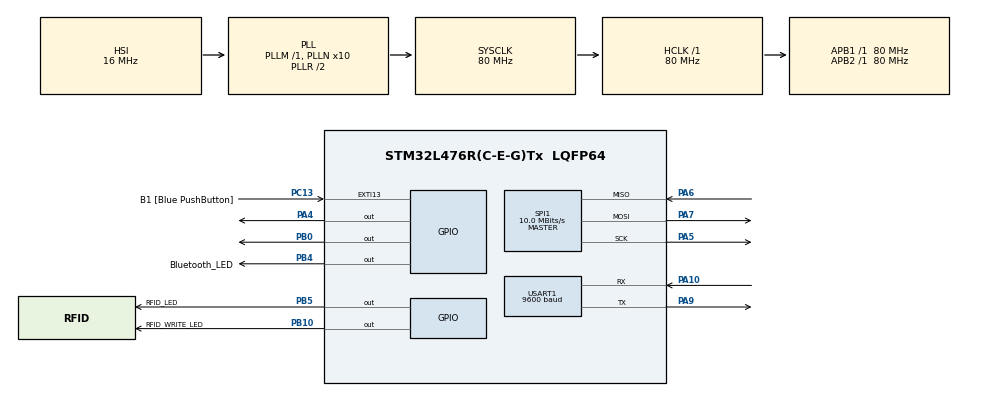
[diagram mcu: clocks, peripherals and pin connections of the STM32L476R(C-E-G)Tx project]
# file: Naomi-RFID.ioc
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Mcu.Family=STM32L4
Mcu.Name=STM32L476R(C-E-G)Tx
Mcu.Package=LQFP64
NVIC.PriorityGroup=NVIC_PRIORITYGROUP_4
NVIC.TIM2_IRQn=true\:0\:0\:false\:false\:true\:true\:true\:true
NVIC.USART1_IRQn=true\:0\:0\:false\:false\:true\:true\:true\:true
PA10.Mode=Asynchronous
PA10.Signal=USART1_RX
PA13\ (JTMS-SWDIO).GPIO_Label=TMS
PA13\ (JTMS-SWDIO).Mode=Serial_Wire
PA13\ (JTMS-SWDIO).Signal=SYS_JTMS-SWDIO
PA14\ (JTCK-SWCLK).GPIO_Label=TCK
PA14\ (JTCK-SWCLK).Mode=Serial_Wire
PA14\ (JTCK-SWCLK).Signal=SYS_JTCK-SWCLK
PA4.Signal=GPIO_Output
PA5.Mode=Full_Duplex_Master
PA5.Signal=SPI1_SCK
PA6.Mode=Full_Duplex_Master
PA6.Signal=SPI1_MISO
PA7.Mode=Full_Duplex_Master
PA7.Signal=SPI1_MOSI
PA9.Mode=Asynchronous
PA9.Signal=USART1_TX
PB0.Signal=GPIO_Output
PB10.GPIO_Label=RFID_WRITE_LED
PB10.Signal=GPIO_Output
PB3\ (JTDO-TRACESWO).GPIO_Label=SWO
PB3\ (JTDO-TRACESWO).Signal=SYS_JTDO-SWO
PB4\ (NJTRST).GPIO_Label=Bluetooth_LED
PB4\ (NJTRST).Signal=GPIO_Output
PB5.GPIO_Label=RFID_LED   
PB5.PinState=GPIO_PIN_RESET
PB5.Signal=GPIO_Output
PC13.GPIO_Label=B1 [Blue PushButton]
PC13.GPIO_ModeDefaultEXTI=GPIO_MODE_IT_FALLING
PC13.GPIO_PuPd=GPIO_NOPULL
PC13.Signal=GPXTI13
PC14-OSC32_IN\ (PC14).Mode=LSE-External-Oscillator
PC14-OSC32_IN\ (PC14).Signal=RCC_OSC32_IN
PC15-OSC32_OUT\ (PC15).Mode=LSE-External-Oscillator
PC15-OSC32_OUT\ (PC15).Signal=RCC_OSC32_OUT
PH0-OSC_IN\ (PH0).Mode=HSE-External-Oscillator
PH0-OSC_IN\ (PH0).Signal=RCC_OSC_IN
PH1-OSC_OUT\ (PH1).Mode=HSE-External-Oscillator
PH1-OSC_OUT\ (PH1).Signal=RCC_OSC_OUT
ProjectManager.HeapSize=0x200
ProjectManager.StackSize=0x400
ProjectManager.TargetToolchain=STM32CubeIDE
RCC.ADCFreq_Value=64000000
RCC.AHBFreq_Value=80000000
RCC.APB1Freq_Value=80000000
RCC.APB1TimFreq_Value=80000000
RCC.APB2Freq_Value=80000000
RCC.APB2TimFreq_Value=80000000
RCC.CortexFreq_Value=80000000
RCC.HCLKFreq_Value=80000000
RCC.HSE_VALUE=8000000
RCC.HSI_VALUE=16000000
RCC.MSI_VALUE=4000000
RCC.PLLN=10
RCC.PLLSourceVirtual=RCC_PLLSOURCE_HSI
RCC.PREFETCH_ENABLE=1
RCC.SYSCLKFreq_VALUE=80000000
RCC.SYSCLKSource=RCC_SYSCLKSOURCE_PLLCLK
RCC.USBFreq_Value=64000000
RCC.VCOOutputFreq_Value=160000000
RTC.Date=9
RTC.Hours=3
RTC.Minutes=23
RTC.Month=RTC_MONTH_OCTOBER
RTC.Seconds=30
SPI1.BaudRatePrescaler=SPI_BAUDRATEPRESCALER_8
SPI1.CalculateBaudRate=10.0 MBits/s
SPI1.DataSize=SPI_DATASIZE_8BIT
SPI1.Direction=SPI_DIRECTION_2LINES
SPI1.Mode=SPI_MODE_MASTER
SPI1.VirtualType=VM_MASTER
TIM2.Period=1999
TIM2.Prescaler=720
USART1.BaudRate=9600
USART1.Mode=MODE_TX_RX
USART1.VirtualMode-Asynchronous=VM_ASYNC
VP_RTC_VS_RTC_Activate.Mode=RTC_Enabled
VP_RTC_VS_RTC_Calendar.Mode=RTC_Calendar
VP_TIM2_VS_ClockSourceINT.Mode=Internal
board=NUCLEO-L476RG

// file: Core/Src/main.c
/* USER CODE BEGIN Header */
/**
  ******************************************************************************
  * @file           : main.c
  * @brief          : Main program body
  ******************************************************************************
  * @attention
  *
  * Copyright (c) 2023 STMicroelectronics.
  * All rights reserved.
  *
  * This software is licensed under terms that can be found in the LICENSE file
  * in the root directory of this software component.
  * If no LICENSE file comes with this software, it is provided AS-IS.
  *
  ******************************************************************************
  */
/* USER CODE END Header */
#include "main.h"

/* USER CODE BEGIN Includes */
#include "stdio.h"
#include "stm32f1_rc522.h"
#include "string.h"
#include <stdint.h>	//for addName()
#include <stdbool.h>
#include <stdlib.h>	//for free() Freeing the dynamically allocated memory
#include "cmox_crypto.h"	//from st's cryptolib, allows for aes encryption and decryption
#include <math.h> //for use in calculating rsa
#include "rsa.h"
/* USER CODE END Includes */

/* USER CODE BEGIN PD */
#define BUFFER_LEN 500	//BLUETUT
#define MAX_NAMES 500
#define MAX_NAME_LENGTH  50
#define subArraySize 15
#define TIMESTAMP_LENGTH  20
#define CHUNK_SIZE  48u   /* Chunk size (in bytes) when data to encrypt or decrypt are processed by chunk */
#define CBC 1	//Enable CBC mode for aes
/* USER CODE END PD */

RTC_HandleTypeDef hrtc;

SPI_HandleTypeDef hspi1;

TIM_HandleTypeDef htim2;

UART_HandleTypeDef huart1;

/* USER CODE BEGIN PV */

//============================================ RFID-rc522 ============================================
//uint8_t i;
uint8_t status;
uint8_t str[MAX_LEN]; // Max_LEN = 16
uint8_t serNum[5];

uint8_t  rfidKey[] = {0xFF,0xFF,0xFF,0xFF,0xFF,0xFF};
uint8_t test;
uint8_t W[]="zagros-elec";
uint8_t R1[15];
uint8_t R2[15];
uint8_t R3[15];
uint8_t combinedR[45];

uint8_t writeArrayDonor[MAX_NAME_LENGTH];
uint8_t writeArray1[subArraySize];
uint8_t writeArray2[subArraySize];
uint8_t writeArray3[subArraySize];

//============================================ Bluetooth HC05 ============================================
uint8_t TX_BUFFER[BUFFER_LEN] = {0};
uint8_t RX_BUFFER[BUFFER_LEN] = {0};
int newMessageFlag = 0;	//ensures that the code executed by bluetooth message is executed only once

//============================================ Counters, Flags and structures ============================================
int i = 0;
int nameSpaceCounter = 0;	//counts how many chars of package are actually a name
struct NamesArray {
    uint8_t names[MAX_NAMES][MAX_NAME_LENGTH];
    size_t count;
};
struct HistoryArray {
    uint8_t names[MAX_NAME_LENGTH];
    uint8_t timeStamps[TIMESTAMP_LENGTH];
};
int historyEntranceCounter = 0;	//used to add each entrance to the next array member and not overwrite the last
int readFlag = 1;	//indicated if the reading the rfid card is currently turned on
int writeFlag = 0;	//indicated if the writing to the rfid card is currently turned on
uint8_t nameToWrite[MAX_NAME_LENGTH];	//the name passed with "writeOn" command to be written on the rfid card
char bufferForOutput[400];

//============================================ RTC ============================================
RTC_TimeTypeDef time;
RTC_DateTypeDef date;

//============================================ test ============================================
int testlen;
long long testarray[64]={0};
long long *encryptedtest;
char *decryptedtest;
uint8_t testBigBuffer[400];
char *decryptedMessage;

//============================================ CRYPTOLIB - AES ============================================
cmox_cbc_handle_t Cbc_Ctx;	//CBC context handle
volatile TestStatus glob_status = FAILED;

//============================================ RSA ============================================
struct public_key_class pubSTM[1];
struct private_key_class privSTM[1];
struct public_key_class pubAPP[1];
long long numberpe, numberpm;

/* USER CODE END PV */

void SystemClock_Config(void);
static void MX_GPIO_Init(void);
static void MX_SPI1_Init(void);
static void MX_TIM2_Init(void);
static void MX_USART1_UART_Init(void);
static void MX_RTC_Init(void);

/* USER CODE BEGIN 0 */
void HAL_UART_RxCpltCallback(UART_HandleTypeDef *huart)
{
	if(huart->Instance == huart1.Instance)
	{
		HAL_UART_Receive_IT(&huart1, RX_BUFFER, BUFFER_LEN);
		newMessageFlag = 1;		//ensures that the code executed by bluetooth message is executed only once
	}
}

void addName(struct NamesArray *array, const uint8_t *buffer, size_t start, size_t length) {
    if (array->count < MAX_NAMES && length < MAX_NAME_LENGTH) {
        strncpy(array->names[array->count], buffer + start, length);
        array->names[array->count][length] = '\0';  // Ensure null-terminated string
        array->count++;
    }
}

void deleteName(struct NamesArray *array, const uint8_t *nameToDelete) {
    for (size_t i = 0; i < array->count; ++i) {
        if (strcmp(array->names[i], nameToDelete) == 0) {
            // Move names after the deleted name to fill the gap
            for (size_t j = i; j < array->count - 1; ++j) {
                strcpy(array->names[j], array->names[j + 1]);
            }
            array->count--;
            break;  // Exit the loop after deleting the name
        }
    }
}

void SaveForLaterSomeEncryptingDecrypting(char *stingToSend){
	/*//printf("Private Key:\n Modulus: %lld\n Exponent: %lld\n", (long long)priv->modulus, (long long) priv->exponent);
										strcpy(bufferForOutput, "Private Key Exponent: ");
										HAL_UART_Transmit(&huart1, (void*)bufferForOutput, strlen(bufferForOutput), 1000);
										sprintf(bufferForOutput, "%d\n", priv->exponent);
										HAL_UART_Transmit(&huart1, (void*)bufferForOutput, strlen(bufferForOutput), 1000);
										strcpy(bufferForOutput, "Public Key Exponent: ");
										HAL_UART_Transmit(&huart1, (void*)bufferForOutput, strlen(bufferForOutput), 1000);
										sprintf(bufferForOutput, "%d\n", pub->exponent);
										HAL_UART_Transmit(&huart1, (void*)bufferForOutput, strlen(bufferForOutput), 1000);

										strcpy(bufferForOutput, "pe:");
										HAL_UART_Transmit(&huart1, (void*)bufferForOutput, strlen(bufferForOutput), 1000);
										sprintf(bufferForOutput, "%lu\n", pubAPP->exponent);
										HAL_UART_Transmit(&huart1, (void*)bufferForOutput, strlen(bufferForOutput), 1000);
										HAL_Delay(100);
										strcpy(bufferForOutput, "pm:");
										HAL_UART_Transmit(&huart1, (void*)bufferForOutput, strlen(bufferForOutput), 1000);
										sprintf(bufferForOutput, "%lu\n", pubAPP->modulus);
										HAL_UART_Transmit(&huart1, (void*)bufferForOutput, strlen(bufferForOutput), 1000);
										HAL_Delay(100);
		char message[] = "hello, Naomi!";
		int i;

		printf("Original:\n");
		for(i=0; i < strlen(message); i++){
		printf("%lld\n", (long long)message[i]);
		}
										strcpy(bufferForOutput, "Original: ");
										HAL_UART_Transmit(&huart1, (void*)bufferForOutput, strlen(bufferForOutput), 1000);
										for(i=0; i < strlen(message); i++){
										sprintf(bufferForOutput, "%d ", (long long)message[i]);
										HAL_UART_Transmit(&huart1, (void*)bufferForOutput, strlen(bufferForOutput), 1000);
										}
										strcpy(bufferForOutput, "\n");
										HAL_UART_Transmit(&huart1, (void*)bufferForOutput, strlen(bufferForOutput), 1000);

		long long *encrypted = rsa_encrypt(message, sizeof(message), pubAPP);
		if (!encrypted){fprintf(stderr, "Error in encryption!\n");}
										strcpy(bufferForOutput, "e:");
										HAL_UART_Transmit(&huart1, (void*)bufferForOutput, strlen(bufferForOutput), 1000);
										for(i=0; i < strlen(message); i++){
										sprintf(bufferForOutput, "%lu ", (long long)encrypted[i]);
										HAL_UART_Transmit(&huart1, (void*)bufferForOutput, strlen(bufferForOutput), 1000);
										}
										strcpy(bufferForOutput, "\n");
										HAL_Delay(100);
										HAL_UART_Transmit(&huart1, (void*)bufferForOutput, strlen(bufferForOutput), 1000);
		char *decrypted = rsa_decrypt(encrypted, 8*sizeof(message), privSTM);
		if (!decrypted){fprintf(stderr, "Error in decryption!\n");}
										strcpy(bufferForOutput, "Decrypted: ");
										HAL_UART_Transmit(&huart1, (void*)bufferForOutput, strlen(bufferForOutput), 1000);
										for(i=0; i < strlen(message); i++){
										sprintf(bufferForOutput, "%c ", (long long)decrypted[i]);
										HAL_UART_Transmit(&huart1, (void*)bufferForOutput, strlen(bufferForOutput), 1000);
										}
										strcpy(bufferForOutput, "\n");
										HAL_UART_Transmit(&huart1, (void*)bufferForOutput, strlen(bufferForOutput), 1000);

		free(encrypted);
		free(decrypted);

*/
}

void sendEncryptedData(char *messageToSend){

    char message[200]; // Assuming a maximum length for the message

    // Copy the content of messageToSend into message
    strcpy(message, messageToSend);
	int i;

	printf("Original:\n");
	for(i=0; i < strlen(message); i++){
	printf("%lld\n", (long long)message[i]);
	}

	long long *encrypted = rsa_encrypt(message, sizeof(message), pubAPP);
	if (!encrypted){fprintf(stderr, "Error in encryption!\n");}
									strcpy(bufferForOutput, "e:");
									HAL_UART_Transmit(&huart1, (void*)bufferForOutput, strlen(bufferForOutput), 1000);
									for(i=0; i < strlen(message); i++){
									sprintf(bufferForOutput, "%lu ", (long long)encrypted[i]);
									HAL_UART_Transmit(&huart1, (void*)bufferForOutput, strlen(bufferForOutput), 1000);
									}
									strcpy(bufferForOutput, "\n");
									HAL_Delay(150);
									HAL_UART_Transmit(&huart1, (void*)bufferForOutput, strlen(bufferForOutput), 1000);

	free(encrypted);

}

long long *extractNumbers(const uint8_t *buffer, size_t *numElements) {
    const char *startMarker = "m:";
    const char *endMarker = "}";
    size_t startMarkerLength = strlen(startMarker);
    size_t endMarkerLength = strlen(endMarker);

    // Find the position of "m:" in the buffer
    const char *startPos = strstr((const char *)buffer, startMarker);
    if (startPos == NULL) {
        fprintf(stderr, "Error: Start marker not found.\n");
        return NULL;
    }

    // Move the position after "m:"
    startPos += startMarkerLength;

    // Find the position of "}" in the buffer
    const char *endPos = strstr(startPos, endMarker);
    if (endPos == NULL) {
        fprintf(stderr, "Error: End marker not found.\n");
        return NULL;
    }

    // Calculate the length between "m:" and "}"
    size_t length = endPos - startPos;

    // Calculate the number of elements
    *numElements = length / 10;

    // Allocate memory for the array
    long long *message = malloc(sizeof(long long) * (*numElements));
    if (message == NULL) {
        fprintf(stderr, "Error: Heap allocation failed.\n");
        return NULL;
    }

    // Extract numbers and convert to long long
    for (size_t i = 0; i < *numElements; i++) {
        char numberString[11];
        strncpy(numberString, startPos + i * 10, 10);
        numberString[10] = '\0';

        message[i] = strtoll(numberString, NULL, 10);
    }

    return message;
}

/* USER CODE END 0 */

int main(void)
{

  /* MCU Configuration--------------------------------------------------------*/

  /* Reset of all peripherals, Initializes the Flash interface and the Systick. */
  HAL_Init();

  /* Configure the system clock */
  SystemClock_Config();

  /* Initialize all configured peripherals */
  MX_GPIO_Init();
  MX_SPI1_Init();
  MX_TIM2_Init();
  MX_USART1_UART_Init();
  MX_RTC_Init();
  /* USER CODE BEGIN 2 */

  MFRC522_Init();

  HAL_UART_Receive_IT(&huart1, RX_BUFFER, BUFFER_LEN);	//BLUETUT

  //HAL_Delay(1000);
  //HAL_TIM_Base_Start_IT(&htim2);
  TX_BUFFER[0]=4;

  struct HistoryArray myHistory[MAX_NAMES]; // this structures stores the history later passed to the app
  struct NamesArray myNames = {{0}, 0}; // this structures stores the names which are allowed to enter
  nameSpaceCounter = i - 5;
  char masterBuffer[] = "master";
  addName(&myNames, masterBuffer, 0, 6);

  RTC_TimeTypeDef new_time = {0};
  new_time.Hours = 7;
  new_time.Minutes = 45;
  new_time.Seconds = 0;
  HAL_RTC_SetTime(&hrtc, &new_time, RTC_FORMAT_BIN);
  newMessageFlag = 0;		//ensures that the code executed by bluetooth message is executed only once
  RTC_DateTypeDef today;
  today.Year = 21;
  today.Month = 06;
  today.Date = 1;
  today.WeekDay = RTC_WEEKDAY_TUESDAY;
  HAL_RTC_SetDate(&hrtc, &today, RTC_FORMAT_BIN);

  rsa_gen_keys(pubSTM, privSTM, PRIME_SOURCE_FILE);	//generating both public and private rsa keys
  char messagetest[] = "TestMessageUwU";
  encryptedtest = rsa_encrypt(messagetest, sizeof(messagetest), pubSTM);
  decryptedtest = rsa_decrypt(encryptedtest, 8*sizeof(messagetest), privSTM);

  /* USER CODE END 2 */

  /* Infinite loop */
  /* USER CODE BEGIN WHILE */
  while (1)
  {
	  HAL_RTC_GetTime(&hrtc, &time, RTC_FORMAT_BIN);
	  HAL_RTC_GetDate(&hrtc, &date, RTC_FORMAT_BIN);

	  	  	//HAL_UART_Receive_IT(&huart1, RX_BUFFER, BUFFER_LEN);	//BLUETUT
	  	  	MFRC522_Init();		//reset is needed for rfid module to work, also needs to be not in rfid loop as not to cause rst pin problem
	  	  	HAL_GPIO_WritePin(GPIOB, Bluetooth_LED_Pin, GPIO_PIN_RESET);
	  	  	status = MFRC522_Request(PICC_REQIDL, str);	//MFRC522_Request(0x26, str)
	  		status = MFRC522_Anticoll(str);//Take a collision, look up 5 bytes
	  		memcpy(serNum, str, 5);//function for c language:(para1:that place save data,para2:the the source of data,para3:size)
	  		if(readFlag == 1){
	  			HAL_GPIO_WritePin(GPIOB, RFID_LED_Pin, GPIO_PIN_SET);
	  		}else{
	  			HAL_GPIO_WritePin(GPIOB, RFID_LED_Pin, GPIO_PIN_RESET);
	  		}
	  		if(writeFlag == 1){
	  			HAL_GPIO_WritePin(GPIOB, RFID_WRITE_LED_Pin, GPIO_PIN_SET);
	  		}else{
	  			HAL_GPIO_WritePin(GPIOB, RFID_WRITE_LED_Pin, GPIO_PIN_RESET);
	  		}

	  		if (status == MI_OK && readFlag == 1)
	  		{
	  				//HAL_GPIO_WritePin(RFID_LED_GPIO_Port, RFID_LED_Pin, 1);
	  				//HAL_GPIO_WritePin(GPIOB, Bluetooth_LED_Pin, GPIO_PIN_SET);
					HAL_Delay(200);
					MFRC522_SelectTag(str);
					test =	MFRC522_Auth(PICC_AUTHENT1A,2,rfidKey,serNum);
					status = MFRC522_Read( 2, R1);
					test =	MFRC522_Auth(PICC_AUTHENT1A,4,rfidKey,serNum);
					status = MFRC522_Read( 4, R2);
					test =	MFRC522_Auth(PICC_AUTHENT1A,5,rfidKey,serNum);
					status = MFRC522_Read( 5, R3);

					memcpy(combinedR, R1, sizeof(R1));
					memcpy(combinedR + sizeof(R1), R2, sizeof(R2));
					memcpy(combinedR + 2 * sizeof(R2), R3, sizeof(R3));

					i = 0;
					while( combinedR[i]!=' '){	//finding how many chars does the name takes before a space-stopper
						i++;
					}
					nameSpaceCounter = i;

					for (size_t i = 0; i < myNames.count; ++i) {
						if (strncmp(myNames.names[i], combinedR, nameSpaceCounter) == 0) {
							HAL_GPIO_WritePin(GPIOB, Bluetooth_LED_Pin, GPIO_PIN_SET);
							HAL_Delay(2000);
							HAL_GPIO_WritePin(GPIOB, Bluetooth_LED_Pin, GPIO_PIN_RESET);
							// Open when there's a match

							snprintf((char*)myHistory[historyEntranceCounter].timeStamps, sizeof(myHistory[historyEntranceCounter].timeStamps), "%02d-%02d-%02d/%02d:%02d", date.Year, date.Month, date.Date, time.Hours, time.Minutes);
							snprintf((char*)myHistory[historyEntranceCounter].names, sizeof(myHistory[historyEntranceCounter].names), "%s:", myNames.names[i]);
							historyEntranceCounter++;

							break;  // If you want to stop after the first match
						}
					}
	  		}
	  		if (status == MI_OK && writeFlag == 1)
	  		{
	  			HAL_Delay(500);
	  			MFRC522_SelectTag(str);
	  			test =	MFRC522_Auth(PICC_AUTHENT1A,2,rfidKey,serNum);
	  			status = MFRC522_Write((uint8_t)2 , writeArray1);
	  			test =	MFRC522_Auth(PICC_AUTHENT1A,4,rfidKey,serNum);
	  			status = MFRC522_Write((uint8_t)4 , writeArray2);
	  			test =	MFRC522_Auth(PICC_AUTHENT1A,5,rfidKey,serNum);
	  			status = MFRC522_Write((uint8_t)5 , writeArray3);
	  		}

	  			//OPEN
	          if(newMessageFlag == 1 && RX_BUFFER[0] == '{' && RX_BUFFER[1] == 'o' && RX_BUFFER[2] == 'p' && RX_BUFFER[3] == 'e' && RX_BUFFER[4] == 'n')
	          {
	        	  sendEncryptedData("opening door");
	        	  HAL_GPIO_WritePin(GPIOB, Bluetooth_LED_Pin, GPIO_PIN_SET);
	        	  HAL_Delay(1000);
	        	  HAL_GPIO_WritePin(GPIOB, Bluetooth_LED_Pin, GPIO_PIN_RESET);
	        	  newMessageFlag = 0;		//ensures that the code executed by bluetooth message is executed only once
	          }
	          //READING START
	          if(newMessageFlag == 1 && RX_BUFFER[0] == '{' && RX_BUFFER[1] == 'r' && RX_BUFFER[2] == 'e' && RX_BUFFER[3] == 'a' && RX_BUFFER[4] == 'd' && RX_BUFFER[5] == 'O' && RX_BUFFER[6] == 'n')
	          {
	              sendEncryptedData("starting reading");
	              readFlag = 1;
	              writeFlag = 0;
	              newMessageFlag = 0;		//ensures that the code executed by bluetooth message is executed only once
	          }

	          //READING STOP
	          if(newMessageFlag == 1 && RX_BUFFER[0] == '{' && RX_BUFFER[1] == 'r' && RX_BUFFER[2] == 'e' && RX_BUFFER[3] == 'a' && RX_BUFFER[4] == 'd' && RX_BUFFER[5] == 'O' && RX_BUFFER[6] == 'f')
			  {
	              sendEncryptedData("stopping reading");
				  readFlag = 0;
				  newMessageFlag = 0;		//ensures that the code executed by bluetooth message is executed only once
			  }

	          //ADD USER
	          if(newMessageFlag == 1 && RX_BUFFER[0] == '{' && RX_BUFFER[1] == 'A' && RX_BUFFER[2] == 'd' && RX_BUFFER[3] == 'd' && RX_BUFFER[4] == ':')
	          {
	        	  i = 0;
	        	  while( RX_BUFFER[i]!='}'){
	        		  i++;
	        	  }
	        	  nameSpaceCounter = i - 5;
	        	  addName(&myNames, RX_BUFFER, 5, nameSpaceCounter);	//nameSpaceCounter is length of the name and 5 is index where the name starts in buffer
	        	  newMessageFlag = 0;		//ensures that the code executed by bluetooth message is executed only once
	       	  }

	          //DELETE USER
			  if(newMessageFlag == 1 && RX_BUFFER[0] == '{' && RX_BUFFER[1] == 'D' && RX_BUFFER[2] == 'l' && RX_BUFFER[3] == 't' && RX_BUFFER[4] == ':')
			  {
				  i = 0;
				  while( RX_BUFFER[i]!='}'){
					  i++;
				  }
				  nameSpaceCounter = i - 5;
				  uint8_t nameToDelete[nameSpaceCounter + 1];  // +1 for null-terminator
				  memcpy(nameToDelete, RX_BUFFER + 5, nameSpaceCounter);
				  nameToDelete[nameSpaceCounter] = '\0';  // Null-terminate the string
				  //const uint8_t *nameToDelete = "igor";
				  deleteName(&myNames, nameToDelete);
				  newMessageFlag = 0;		//ensures that the code executed by bluetooth message is executed only once
			  }

	          //SYNCHRONIZE USERS
	          if(newMessageFlag == 1 && RX_BUFFER[0] == '{' && RX_BUFFER[1] == 's' && RX_BUFFER[2] == 'y' && RX_BUFFER[3] == 'n' && RX_BUFFER[4] == 'c' && RX_BUFFER[5] == 'U' && RX_BUFFER[6] == 's' && RX_BUFFER[7] == 'e' && RX_BUFFER[8] == 'r' && RX_BUFFER[9] == '}')
	          {
	        	  char buffer1[] = "usr:";
	        	  HAL_UART_Transmit(&huart1, (void*)buffer1, strlen(buffer1), 1000);
	        	  for(i = 0; i < myNames.count; i++){
	        		  HAL_UART_Transmit(&huart1, (void*)myNames.names[i], strlen(myNames.names[i]), 1000);
	        		  char buffer[] = " ";
	        		  HAL_UART_Transmit(&huart1, (void*)buffer, strlen(buffer), 1000);
	        	  }
				  char buffer2[] = "\n";
				  HAL_UART_Transmit(&huart1, (void*)buffer2, strlen(buffer2), 1000);

				  sendEncryptedData("UsersStart");
				  HAL_Delay(50);
				  for(i = 0; i < myNames.count; i++){
					  char buffer[MAX_NAME_LENGTH + TIMESTAMP_LENGTH + 1]; // +1 for null terminator

					  // Concatenate names and timeStamps into the buffer
					  snprintf(buffer, sizeof(buffer), "u:%s ", myNames.names[i]);

					  // Transmit the concatenated string
					  sendEncryptedData(buffer);
				  }
				  sendEncryptedData("UsersEnd");

				  newMessageFlag = 0;		//ensures that the code executed by bluetooth message is executed only once

	          }
	          HAL_Delay(500);

	          //TIME SYNCHRONIZATION
	          if(newMessageFlag == 1 && RX_BUFFER[0] == '{' && RX_BUFFER[1] == 't' && RX_BUFFER[2] == 'i' && RX_BUFFER[3] == 'm' && RX_BUFFER[4] == 'e' && RX_BUFFER[5] == ':')
			  {
	        	  RTC_TimeTypeDef new_time = {0};
	        	  testlen = (RX_BUFFER[6] - '0') * 10 + (RX_BUFFER[7] - '0');
	        	  new_time.Hours = (RX_BUFFER[6] - '0') * 10 + (RX_BUFFER[7] - '0');
	        	  new_time.Minutes = (RX_BUFFER[9] - '0') * 10 + (RX_BUFFER[10] - '0');
	        	  new_time.Seconds = (RX_BUFFER[12] - '0') * 10 + (RX_BUFFER[13] - '0');
	        	  HAL_RTC_SetTime(&hrtc, &new_time, RTC_FORMAT_BIN);
	        	  RTC_DateTypeDef today;
	        	  today.Year = (RX_BUFFER[21] - '0') * 10 + (RX_BUFFER[22] - '0');
	        	  today.Month = (RX_BUFFER[18] - '0') * 10 + (RX_BUFFER[19] - '0');
	        	  today.Date = (RX_BUFFER[15] - '0') * 10 + (RX_BUFFER[16] - '0');
	        	  today.WeekDay = RTC_WEEKDAY_TUESDAY;
	        	  HAL_RTC_SetDate(&hrtc, &today, RTC_FORMAT_BIN);
	        	  newMessageFlag = 0;		//ensures that the code executed by bluetooth message is executed only once
			  }

	          //WRITING START
	          if(newMessageFlag == 1 && RX_BUFFER[0] == '{' && RX_BUFFER[1] == 'w' && RX_BUFFER[2] == 'O' && RX_BUFFER[3] == 'n' && RX_BUFFER[4] == ':')
			  {
	        	  readFlag = 0;
	        	  writeFlag = 1;

				  i = 0;
				  while( RX_BUFFER[i]!='}'){
					  i++;
				  }
				  nameSpaceCounter = i - 5;
				  memcpy(writeArrayDonor, RX_BUFFER + 5, MAX_NAME_LENGTH);	//copying the received buffer without beginning of packet "{wOn:"
				  writeArrayDonor[nameSpaceCounter]=' ';	//getting rid of closing "}" in the packet
				  memcpy(writeArray1, writeArrayDonor, subArraySize);
				  memcpy(writeArray2, writeArrayDonor + subArraySize, subArraySize);
				  memcpy(writeArray3, writeArrayDonor + 2 * subArraySize, subArraySize);
				  newMessageFlag = 0;		//ensures that the code executed by bluetooth message is executed only once
			  }

	          //WRITING STOP
	          if(newMessageFlag == 1 && RX_BUFFER[0] == '{' && RX_BUFFER[1] == 'w' && RX_BUFFER[2] == 'r' && RX_BUFFER[3] == 'i' && RX_BUFFER[4] == 't' && RX_BUFFER[5] == 'e' && RX_BUFFER[6] == 'O' && RX_BUFFER[7] == 'f' && RX_BUFFER[8] == 'f' && RX_BUFFER[9] == '}')
	          {
	        	  writeFlag = 0;
	        	  newMessageFlag = 0;		//ensures that the code executed by bluetooth message is executed only once
	          }

	          //HISTORY OUTPUT
	          if(newMessageFlag == 1 && RX_BUFFER[0] == '{' && RX_BUFFER[1] == 'h' && RX_BUFFER[2] == 'i' && RX_BUFFER[3] == 's' && RX_BUFFER[4] == 't' && RX_BUFFER[5] == 'o' && RX_BUFFER[6] == 'r' && RX_BUFFER[7] == 'y' && RX_BUFFER[8] == '}')
			  {
	        	  /*char buffer1[] = "hist:";
	        	  HAL_UART_Transmit(&huart1, (void*)buffer1, strlen(buffer1), 1000);
	        	  for (int v = 0; v < historyEntranceCounter; v++) {
	        		  HAL_UART_Transmit(&huart1, (void*)myHistory[v].names, strlen(myHistory[v].names), 1000);
	        		  HAL_UART_Transmit(&huart1, (void*)myHistory[v].timeStamps, strlen(myHistory[v].timeStamps), 1000);
	        	  }
	        	  char buffer2[] = "\n";
	        	  HAL_UART_Transmit(&huart1, (void*)buffer2, strlen(buffer2), 1000);
	        	  */

	        	  //sendEncryptedData("HistoryStart");

	        	  sendEncryptedData("HistoryStart");
	        	  HAL_Delay(50);
	        	  for (int v = 0; v < historyEntranceCounter; v++) {
	        	      char buffer[MAX_NAME_LENGTH + TIMESTAMP_LENGTH + 1]; // +1 for null terminator

	        	      // Concatenate names and timeStamps into the buffer
	        	      snprintf(buffer, sizeof(buffer), "h:%s%s", myHistory[v].names, myHistory[v].timeStamps);

	        	      // Transmit the concatenated string
	        	      sendEncryptedData(buffer);
	        	  }
	        	  sendEncryptedData("HistoryEnd");

				  	  newMessageFlag = 0;		//ensures that the code executed by bluetooth message is executed only once
			  }

	          //PASSWORD CHECKING
              //BUT NOT ONLY WE RECEIVE THE PUBLIC KEY, WE ALSO SEND BACK OUT STM PUBLIC KEY, WE EXCHANGE
	          if(newMessageFlag == 1 && RX_BUFFER[0] == '{' && RX_BUFFER[1] == 'p' && RX_BUFFER[2] == 'a' && RX_BUFFER[3] == 's' && RX_BUFFER[4] == 's' && RX_BUFFER[5] == 'w' && RX_BUFFER[6] == 'o' && RX_BUFFER[7] == 'r' && RX_BUFFER[8] == 'd' && RX_BUFFER[9] == ':')
	          {
	        	  if(RX_BUFFER[10] == '1' && RX_BUFFER[11] == '1' && RX_BUFFER[12] == '1'){
	        		  char buffer2[50];
	        		  sprintf(buffer2, "pass_correct,read:%d,write:%d\n",readFlag,writeFlag);
	        		  HAL_UART_Transmit(&huart1, (void*)buffer2, strlen(buffer2), 1000);
	        	  }else{
	        		  char buffer2[] = "pass_incorrect\n";
	        		  HAL_UART_Transmit(&huart1, (void*)buffer2, strlen(buffer2), 1000);
	        	  }
	        	  newMessageFlag = 0;		//ensures that the code executed by bluetooth message is executed only once
	          }

	          //THIS if handles recieved message with the components of a public key received from android application - modulus and exponent
	          if(newMessageFlag == 1 && RX_BUFFER[0] == '{' && RX_BUFFER[1] == 'e' && RX_BUFFER[2] == '1' && RX_BUFFER[3] == ':')
	          {
	              char *endptr;

	              // Extract e1 and e2
	              char e1_str[20], e2_str[20];	//we need to devide the number into two because it is often far larger then max capacity of long int so there are errors, so we devide them during transition and combine again here
	              int i = 0;
	              while (RX_BUFFER[i] != 'e') {
	                  i++;
	              }
	              sscanf(RX_BUFFER + i, "e1:%[^e]e2:%[^m]", e1_str, e2_str);	//writing our two parts of exponent into two variables
	              // Calculate multiplier for e2 only if it's not empty
				  long long multiplier_e2 = 1;

				  for (int k = 0; k < strlen(e2_str); k++) {	//computing by how much to multiply second number for it to be right after first one
					  multiplier_e2 *= 10;
				  }
				  if(strlen(e2_str) > 6){	//if second number is absent than we just print the first one alone
					  pubAPP->exponent = numberpe = strtoll(e1_str, &endptr, 10);	//writing only the first part of exponent into our public key structure if there is only one part
				  }else{
					  pubAPP->exponent = numberpe = strtoll(e1_str, &endptr, 10) * multiplier_e2 + strtoll(e2_str, &endptr, 10);	//writing into that structures both parts if second one exists
				  }

	              // Extract m1 and m2
	              char m1_str[20], m2_str[20];
	              i = 0;
	              while (RX_BUFFER[i] != 'm') {
	                  i++;
	              }
	              sscanf(RX_BUFFER + i, "m1:%[^m]m2:%[^}]", m1_str, m2_str);

	              // Calculate multiplier for m2
	              long long multiplier_m2 = 1;
	              for (int j = 0; j < strlen(m2_str); j++) {
	                  multiplier_m2 *= 10;
	              }
	              if(strlen(m2_str) > 6){
	            	  pubAPP->modulus = strtoll(m1_str, &endptr, 10);
	              }else{
	            	  pubAPP->modulus = strtoll(m1_str, &endptr, 10) * multiplier_m2 + strtoll(m2_str, &endptr, 10);
	              }

	              HAL_Delay(100);

	              //BUT NOT ONLY WE RECEIVE THE PUBLIC KEY, WE ALSO SEND BACK OUT STM PUBLIC KEY, WE EXCHANGE
				strcpy(bufferForOutput, "key{e:");
				HAL_UART_Transmit(&huart1, (void*)bufferForOutput, strlen(bufferForOutput), 1000);
				sprintf(bufferForOutput, "%lu", pubSTM->exponent);
				HAL_UART_Transmit(&huart1, (void*)bufferForOutput, strlen(bufferForOutput), 1000);
				strcpy(bufferForOutput, "m:");
				HAL_UART_Transmit(&huart1, (void*)bufferForOutput, strlen(bufferForOutput), 1000);
				sprintf(bufferForOutput, "%lu}\n", pubSTM->modulus);
				HAL_UART_Transmit(&huart1, (void*)bufferForOutput, strlen(bufferForOutput), 1000);

	              newMessageFlag = 0;
	          }

	          //THIS if handles all incoming encrypted messages and decrypts them
	          if(newMessageFlag == 1 && RX_BUFFER[0] == 'm' && RX_BUFFER[1] == ':')
	          {

	        	  i = 0;
				  while( RX_BUFFER[i]!='}'){
					  i++;
				  }
				  nameSpaceCounter = i - 2;

				  uint8_t encodedMessageBuffer[nameSpaceCounter]; //here i write incoming encoded messages
				  memcpy(encodedMessageBuffer, RX_BUFFER + 2, nameSpaceCounter);	//copying the received buffer without beginning of packet "{wOn:"
				  //encodedMessageBuffer[nameSpaceCounter]=' ';	//getting rid of closing "}" in the packet

				  size_t arraySize = strlen(encodedMessageBuffer) / 10;

				  size_t numElements;
				  long long *encryptedMessage = extractNumbers(RX_BUFFER, &numElements);

				  decryptedMessage = rsa_decrypt(encryptedMessage, 24*sizeof(encryptedMessage), privSTM);

				  for(int i=0; i<20; i++){
					  testBigBuffer[i]=decryptedMessage[i];
				  }

				  testlen = strncmp("readOn", decryptedMessage, 6);
				  if(strncmp("openDoor", decryptedMessage, 8) == 0){
					  sendEncryptedData("opening door");
					  HAL_GPIO_WritePin(GPIOB, Bluetooth_LED_Pin, GPIO_PIN_SET);
					  HAL_Delay(1000);
					  HAL_GPIO_WritePin(GPIOB, Bluetooth_LED_Pin, GPIO_PIN_RESET);
				  }else if(strncmp("readOn", decryptedMessage, 6) == 0){
					  sendEncryptedData("starting reading");
					  readFlag = 1;
					  writeFlag = 0;
				  }else if(strncmp("readOff", decryptedMessage, 7) == 0){
					  sendEncryptedData("stopping reading");
					  readFlag = 0;
				  }else if(strncmp("syncUser", decryptedMessage, 8) == 0){
					  char buffer1[] = "usr:";
					  HAL_UART_Transmit(&huart1, (void*)buffer1, strlen(buffer1), 1000);
					  for(i = 0; i < myNames.count; i++){
						  HAL_UART_Transmit(&huart1, (void*)myNames.names[i], strlen(myNames.names[i]), 1000);
						  char buffer[] = " ";
						  HAL_UART_Transmit(&huart1, (void*)buffer, strlen(buffer), 1000);
					  }
					  char buffer2[] = "\n";
					  HAL_UART_Transmit(&huart1, (void*)buffer2, strlen(buffer2), 1000);

					  sendEncryptedData("UsersStart");
					  HAL_Delay(50);
					  for(i = 0; i < myNames.count; i++){
						  char buffer[MAX_NAME_LENGTH + TIMESTAMP_LENGTH + 1]; // +1 for null terminator

						  // Concatenate names and timeStamps into the buffer
						  snprintf(buffer, sizeof(buffer), "u:%s ", myNames.names[i]);

						  // Transmit the concatenated string
						  sendEncryptedData(buffer);
					  }
					  HAL_Delay(50);
					  sendEncryptedData("UsersEnd");
				  }else if(strncmp("history", decryptedMessage, 7) == 0){
					  sendEncryptedData("HistoryStart");
					  HAL_Delay(50);
					  for (int v = 0; v < historyEntranceCounter; v++) {
						  char buffer[MAX_NAME_LENGTH + TIMESTAMP_LENGTH + 1]; // +1 for null terminator

						  // Concatenate names and timeStamps into the buffer
						  snprintf(buffer, sizeof(buffer), "h:%s%s", myHistory[v].names, myHistory[v].timeStamps);

						  // Transmit the concatenated string
						  sendEncryptedData(buffer);
					  }
					  HAL_Delay(50);
					  sendEncryptedData("HistoryEnd");
				  }else if(strncmp("add:", decryptedMessage, 4) == 0){

					  i = 0;
					  while( decryptedMessage[i]!='}'){
						  i++;
					  }
					  nameSpaceCounter = i - 4;
					  addName(&myNames, decryptedMessage, 4, nameSpaceCounter);	//nameSpaceCounter is length of the name and 5 is index where the name starts in buffer

				  }else if(strncmp("Dlt:", decryptedMessage, 4) == 0){
					  i = 0;
					  while( decryptedMessage[i]!='}'){
						  i++;
					  }
					  nameSpaceCounter = i - 4;
					  uint8_t nameToDelete[nameSpaceCounter + 1];  // +1 for null-terminator
					  memcpy(nameToDelete, decryptedMessage + 4, nameSpaceCounter);
					  nameToDelete[nameSpaceCounter] = '\0';  // Null-terminate the string
					  deleteName(&myNames, nameToDelete);
				  }else if(strncmp("writeOff", decryptedMessage, 8) == 0){
					  writeFlag = 0;
				  }else if(strncmp("wOn:", decryptedMessage, 4) == 0){
					  readFlag = 0;
					  writeFlag = 1;

					  i = 0;
					  while( decryptedMessage[i]!='}'){
						  i++;
					  }
					  nameSpaceCounter = i - 4;
					  memcpy(writeArrayDonor, decryptedMessage + 4, MAX_NAME_LENGTH);	//copying the received buffer without beginning of packet "{wOn:"
					  writeArrayDonor[nameSpaceCounter]=' ';	//getting rid of closing "}" in the packet
					  memcpy(writeArray1, writeArrayDonor, subArraySize);
					  memcpy(writeArray2, writeArrayDonor + subArraySize, subArraySize);
					  memcpy(writeArray3, writeArrayDonor + 2 * subArraySize, subArraySize);
				  }else if(strncmp("pass:", decryptedMessage, 5) == 0){
					  if(decryptedMessage[5] == '1' && decryptedMessage[6] == '1' && decryptedMessage[7] == '1'){
						  char buffer2[50];
						  sprintf(buffer2, "pass_correct,read:%d,write:%d",readFlag,writeFlag);
						  sendEncryptedData(buffer2);
					  }else{
						  char buffer2[] = "pass_incorrect";
						  sendEncryptedData(buffer2);
					  }
				  }

				  free(encryptedMessage);
				  free(decryptedMessage);

	        	  newMessageFlag = 0;
	          }

    /* USER CODE END WHILE */

  }
}

void SystemClock_Config(void)
{
  RCC_OscInitTypeDef RCC_OscInitStruct = {0};
  RCC_ClkInitTypeDef RCC_ClkInitStruct = {0};

  /** Configure the main internal regulator output voltage
  */
  if (HAL_PWREx_ControlVoltageScaling(PWR_REGULATOR_VOLTAGE_SCALE1) != HAL_OK)
  {
    Error_Handler();
  }

  /** Initializes the RCC Oscillators according to the specified parameters
  * in the RCC_OscInitTypeDef structure.
  */
  RCC_OscInitStruct.OscillatorType = RCC_OSCILLATORTYPE_HSI|RCC_OSCILLATORTYPE_LSI;
  RCC_OscInitStruct.HSIState = RCC_HSI_ON;
  RCC_OscInitStruct.HSICalibrationValue = RCC_HSICALIBRATION_DEFAULT;
  RCC_OscInitStruct.LSIState = RCC_LSI_ON;
  RCC_OscInitStruct.PLL.PLLState = RCC_PLL_ON;
  RCC_OscInitStruct.PLL.PLLSource = RCC_PLLSOURCE_HSI;
  RCC_OscInitStruct.PLL.PLLM = 1;
  RCC_OscInitStruct.PLL.PLLN = 10;
  RCC_OscInitStruct.PLL.PLLP = RCC_PLLP_DIV7;
  RCC_OscInitStruct.PLL.PLLQ = RCC_PLLQ_DIV2;
  RCC_OscInitStruct.PLL.PLLR = RCC_PLLR_DIV2;
  if (HAL_RCC_OscConfig(&RCC_OscInitStruct) != HAL_OK)
  {
    Error_Handler();
  }

  /** Initializes the CPU, AHB and APB buses clocks
  */
  RCC_ClkInitStruct.ClockType = RCC_CLOCKTYPE_HCLK|RCC_CLOCKTYPE_SYSCLK
                              |RCC_CLOCKTYPE_PCLK1|RCC_CLOCKTYPE_PCLK2;
  RCC_ClkInitStruct.SYSCLKSource = RCC_SYSCLKSOURCE_PLLCLK;
  RCC_ClkInitStruct.AHBCLKDivider = RCC_SYSCLK_DIV1;
  RCC_ClkInitStruct.APB1CLKDivider = RCC_HCLK_DIV1;
  RCC_ClkInitStruct.APB2CLKDivider = RCC_HCLK_DIV1;

  if (HAL_RCC_ClockConfig(&RCC_ClkInitStruct, FLASH_LATENCY_4) != HAL_OK)
  {
    Error_Handler();
  }
}

static void MX_RTC_Init(void)
{

  RTC_TimeTypeDef sTime = {0};
  RTC_DateTypeDef sDate = {0};

  /** Initialize RTC Only
  */
  hrtc.Instance = RTC;
  hrtc.Init.HourFormat = RTC_HOURFORMAT_24;
  hrtc.Init.AsynchPrediv = 127;
  hrtc.Init.SynchPrediv = 255;
  hrtc.Init.OutPut = RTC_OUTPUT_DISABLE;
  hrtc.Init.OutPutRemap = RTC_OUTPUT_REMAP_NONE;
  hrtc.Init.OutPutPolarity = RTC_OUTPUT_POLARITY_HIGH;
  hrtc.Init.OutPutType = RTC_OUTPUT_TYPE_OPENDRAIN;
  if (HAL_RTC_Init(&hrtc) != HAL_OK)
  {
    Error_Handler();
  }

  /** Initialize RTC and set the Time and Date
  */
  sTime.Hours = 0x3;
  sTime.Minutes = 0x23;
  sTime.Seconds = 0x30;
  sTime.DayLightSaving = RTC_DAYLIGHTSAVING_NONE;
  sTime.StoreOperation = RTC_STOREOPERATION_RESET;
  if (HAL_RTC_SetTime(&hrtc, &sTime, RTC_FORMAT_BCD) != HAL_OK)
  {
    Error_Handler();
  }
  sDate.WeekDay = RTC_WEEKDAY_MONDAY;
  sDate.Month = RTC_MONTH_OCTOBER;
  sDate.Date = 0x9;
  sDate.Year = 0x0;

  if (HAL_RTC_SetDate(&hrtc, &sDate, RTC_FORMAT_BCD) != HAL_OK)
  {
    Error_Handler();
  }

}

static void MX_SPI1_Init(void)
{

  /* SPI1 parameter configuration*/
  hspi1.Instance = SPI1;
  hspi1.Init.Mode = SPI_MODE_MASTER;
  hspi1.Init.Direction = SPI_DIRECTION_2LINES;
  hspi1.Init.DataSize = SPI_DATASIZE_8BIT;
  hspi1.Init.CLKPolarity = SPI_POLARITY_LOW;
  hspi1.Init.CLKPhase = SPI_PHASE_1EDGE;
  hspi1.Init.NSS = SPI_NSS_SOFT;
  hspi1.Init.BaudRatePrescaler = SPI_BAUDRATEPRESCALER_8;
  hspi1.Init.FirstBit = SPI_FIRSTBIT_MSB;
  hspi1.Init.TIMode = SPI_TIMODE_DISABLE;
  hspi1.Init.CRCCalculation = SPI_CRCCALCULATION_DISABLE;
  hspi1.Init.CRCPolynomial = 7;
  hspi1.Init.CRCLength = SPI_CRC_LENGTH_DATASIZE;
  hspi1.Init.NSSPMode = SPI_NSS_PULSE_ENABLE;
  if (HAL_SPI_Init(&hspi1) != HAL_OK)
  {
    Error_Handler();
  }

}

static void MX_TIM2_Init(void)
{

  TIM_ClockConfigTypeDef sClockSourceConfig = {0};
  TIM_MasterConfigTypeDef sMasterConfig = {0};

  htim2.Instance = TIM2;
  htim2.Init.Prescaler = 720;
  htim2.Init.CounterMode = TIM_COUNTERMODE_UP;
  htim2.Init.Period = 1999;
  htim2.Init.ClockDivision = TIM_CLOCKDIVISION_DIV1;
  htim2.Init.AutoReloadPreload = TIM_AUTORELOAD_PRELOAD_DISABLE;
  if (HAL_TIM_Base_Init(&htim2) != HAL_OK)
  {
    Error_Handler();
  }
  sClockSourceConfig.ClockSource = TIM_CLOCKSOURCE_INTERNAL;
  if (HAL_TIM_ConfigClockSource(&htim2, &sClockSourceConfig) != HAL_OK)
  {
    Error_Handler();
  }
  sMasterConfig.MasterOutputTrigger = TIM_TRGO_RESET;
  sMasterConfig.MasterSlaveMode = TIM_MASTERSLAVEMODE_DISABLE;
  if (HAL_TIMEx_MasterConfigSynchronization(&htim2, &sMasterConfig) != HAL_OK)
  {
    Error_Handler();
  }

}

static void MX_USART1_UART_Init(void)
{

  huart1.Instance = USART1;
  huart1.Init.BaudRate = 9600;
  huart1.Init.WordLength = UART_WORDLENGTH_8B;
  huart1.Init.StopBits = UART_STOPBITS_1;
  huart1.Init.Parity = UART_PARITY_NONE;
  huart1.Init.Mode = UART_MODE_TX_RX;
  huart1.Init.HwFlowCtl = UART_HWCONTROL_NONE;
  huart1.Init.OverSampling = UART_OVERSAMPLING_16;
  huart1.Init.OneBitSampling = UART_ONE_BIT_SAMPLE_DISABLE;
  huart1.AdvancedInit.AdvFeatureInit = UART_ADVFEATURE_NO_INIT;
  if (HAL_UART_Init(&huart1) != HAL_OK)
  {
    Error_Handler();
  }

}

static void MX_GPIO_Init(void)
{
  GPIO_InitTypeDef GPIO_InitStruct = {0};

  /* GPIO Ports Clock Enable */
  __HAL_RCC_GPIOC_CLK_ENABLE();
  __HAL_RCC_GPIOH_CLK_ENABLE();
  __HAL_RCC_GPIOA_CLK_ENABLE();
  __HAL_RCC_GPIOB_CLK_ENABLE();

  /*Configure GPIO pin Output Level */
  HAL_GPIO_WritePin(GPIOA, GPIO_PIN_4, GPIO_PIN_RESET);

  /*Configure GPIO pin Output Level */
  HAL_GPIO_WritePin(GPIOB, GPIO_PIN_0|RFID_WRITE_LED_Pin|Bluetooth_LED_Pin|RFID_LED_Pin, GPIO_PIN_RESET);

  /*Configure GPIO pin : B1_Pin */
  GPIO_InitStruct.Pin = B1_Pin;
  GPIO_InitStruct.Mode = GPIO_MODE_IT_FALLING;
  GPIO_InitStruct.Pull = GPIO_NOPULL;
  HAL_GPIO_Init(B1_GPIO_Port, &GPIO_InitStruct);

  /*Configure GPIO pin : PA4 */
  GPIO_InitStruct.Pin = GPIO_PIN_4;
  GPIO_InitStruct.Mode = GPIO_MODE_OUTPUT_PP;
  GPIO_InitStruct.Pull = GPIO_NOPULL;
  GPIO_InitStruct.Speed = GPIO_SPEED_FREQ_LOW;
  HAL_GPIO_Init(GPIOA, &GPIO_InitStruct);

  /*Configure GPIO pins : PB0 RFID_WRITE_LED_Pin Bluetooth_LED_Pin RFID_LED_Pin */
  GPIO_InitStruct.Pin = GPIO_PIN_0|RFID_WRITE_LED_Pin|Bluetooth_LED_Pin|RFID_LED_Pin;
  GPIO_InitStruct.Mode = GPIO_MODE_OUTPUT_PP;
  GPIO_InitStruct.Pull = GPIO_NOPULL;
  GPIO_InitStruct.Speed = GPIO_SPEED_FREQ_LOW;
  HAL_GPIO_Init(GPIOB, &GPIO_InitStruct);

}

void Error_Handler(void)
{
  __disable_irq();
  while (1)
  {
  }
}
